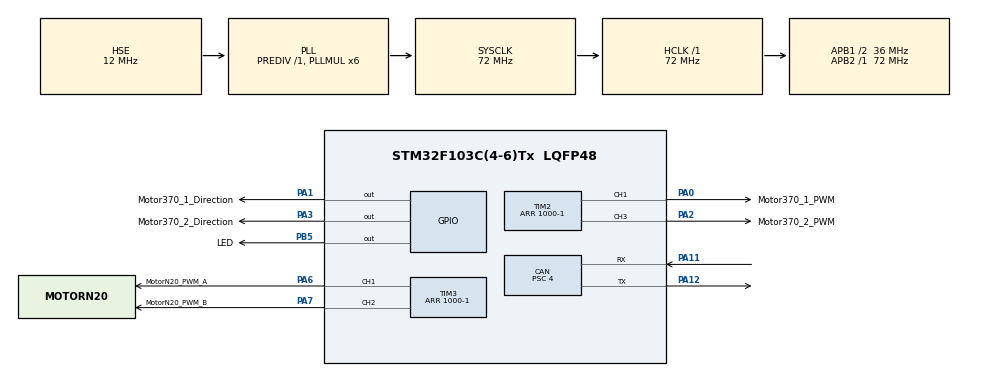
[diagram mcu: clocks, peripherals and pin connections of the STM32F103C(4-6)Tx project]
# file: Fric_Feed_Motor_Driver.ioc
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CAN.ABOM=ENABLE
CAN.BS1=CAN_BS1_14TQ
CAN.BS2=CAN_BS2_3TQ
CAN.CalculateBaudRate=500000
CAN.CalculateTimeBit=2000
CAN.CalculateTimeQuantum=111.11111111111111
CAN.NART=ENABLE
CAN.Prescaler=4
Mcu.Family=STM32F1
Mcu.Name=STM32F103C(4-6)Tx
Mcu.Package=LQFP48
NVIC.PriorityGroup=NVIC_PRIORITYGROUP_4
NVIC.USB_HP_CAN1_TX_IRQn=true\:0\:0\:false\:false\:true\:true\:true\:true
NVIC.USB_LP_CAN1_RX0_IRQn=true\:0\:0\:false\:false\:true\:true\:true\:true
PA0-WKUP.GPIO_Label=Motor370_1_PWM
PA0-WKUP.Signal=S_TIM2_CH1_ETR
PA1.GPIO_Label=Motor370_1_Direction
PA1.Signal=GPIO_Output
PA11.Mode=CAN_Activate
PA11.Signal=CAN_RX
PA12.Mode=CAN_Activate
PA12.Signal=CAN_TX
PA13.Mode=Serial_Wire
PA13.Signal=SYS_JTMS-SWDIO
PA14.Mode=Serial_Wire
PA14.Signal=SYS_JTCK-SWCLK
PA2.GPIO_Label=Motor370_2_PWM
PA2.Signal=S_TIM2_CH3
PA3.GPIO_Label=Motor370_2_Direction
PA3.PinState=GPIO_PIN_RESET
PA3.Signal=GPIO_Output
PA6.GPIO_Label=MotorN20_PWM_A
PA6.Signal=S_TIM3_CH1
PA7.GPIO_Label=MotorN20_PWM_B
PA7.Signal=S_TIM3_CH2
PB5.GPIO_Label=LED
PB5.Signal=GPIO_Output
PD0-OSC_IN.Mode=HSE-External-Oscillator
PD0-OSC_IN.Signal=RCC_OSC_IN
PD1-OSC_OUT.Mode=HSE-External-Oscillator
PD1-OSC_OUT.Signal=RCC_OSC_OUT
ProjectManager.HeapSize=0x200
ProjectManager.StackSize=0x400
ProjectManager.TargetToolchain=Makefile
RCC.AHBFreq_Value=72000000
RCC.APB1CLKDivider=RCC_HCLK_DIV2
RCC.APB1Freq_Value=36000000
RCC.APB1TimFreq_Value=72000000
RCC.APB2Freq_Value=72000000
RCC.APB2TimFreq_Value=72000000
RCC.HCLKFreq_Value=72000000
RCC.HSE_VALUE=12000000
RCC.PLLMUL=RCC_PLL_MUL6
RCC.PLLSourceVirtual=RCC_PLLSOURCE_HSE
RCC.SYSCLKFreq_VALUE=72000000
RCC.SYSCLKSource=RCC_SYSCLKSOURCE_PLLCLK
RCC.USBFreq_Value=72000000
SH.S_TIM2_CH1_ETR.0=TIM2_CH1,PWM Generation1 CH1
SH.S_TIM2_CH3.0=TIM2_CH3,PWM Generation3 CH3
SH.S_TIM3_CH1.0=TIM3_CH1,PWM Generation1 CH1
SH.S_TIM3_CH2.0=TIM3_CH2,PWM Generation2 CH2
TIM2.Channel-PWM\ Generation1\ CH1=TIM_CHANNEL_1
TIM2.Channel-PWM\ Generation3\ CH3=TIM_CHANNEL_3
TIM2.Period=1000-1
TIM3.Channel-PWM\ Generation1\ CH1=TIM_CHANNEL_1
TIM3.Channel-PWM\ Generation2\ CH2=TIM_CHANNEL_2
TIM3.Period=1000-1
board=custom

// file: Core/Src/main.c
/* USER CODE BEGIN Header */
/**
  ******************************************************************************
  * @file           : main.c
  * @brief          : Main program body
  ******************************************************************************
  * @attention
  *
  * Copyright (c) 2026 STMicroelectronics.
  * All rights reserved.
  *
  * This software is licensed under terms that can be found in the LICENSE file
  * in the root directory of this software component.
  * If no LICENSE file comes with this software, it is provided AS-IS.
  *
  ******************************************************************************
  */
/* USER CODE END Header */
#include "main.h"
#include "can.h"
#include "tim.h"
#include "gpio.h"

/* USER CODE BEGIN Includes */
#include "bsp_motor.h"
#include "bsp_can.h"
#include "app_control.h"
#include "app_protocol.h"
#include "app_debug.h"
/* USER CODE END Includes */

/* USER CODE BEGIN PV */
volatile uint8_t control_flag = 0;
/* USER CODE END PV */

void SystemClock_Config(void);
/* USER CODE BEGIN PFP */
void HAL_SYSTICK_Callback(void)
{
  static uint8_t control_divider = 0;

  if (++control_divider >= 10) // 10ms 100hz
  {
    control_divider = 0;
    control_flag = 1;
  }
}
/* USER CODE END PFP */

int main(void)
{

  /* MCU Configuration--------------------------------------------------------*/

  /* Reset of all peripherals, Initializes the Flash interface and the Systick. */
  HAL_Init();

  /* Configure the system clock */
  SystemClock_Config();

  /* Initialize all configured peripherals */
  MX_GPIO_Init();
  MX_CAN_Init();
  MX_TIM2_Init();
  MX_TIM3_Init();
  /* USER CODE BEGIN 2 */
  appProtocolInit();
  appControlInit();
  /* USER CODE END 2 */

  /* Infinite loop */
  while (1)
  {

    /* USER CODE BEGIN 3 */
    if (control_flag)
    {
      control_flag = 0;

      appControlLoop();

      ProtocolStatusFrame current_status;
      appProtocolGetStatusFrame(&current_status);
      appProtocolReport(&hcan, &current_status);
    }
  }
  /* USER CODE END 3 */
}

void SystemClock_Config(void)
{
  RCC_OscInitTypeDef RCC_OscInitStruct = {0};
  RCC_ClkInitTypeDef RCC_ClkInitStruct = {0};

  /** Initializes the RCC Oscillators according to the specified parameters
  * in the RCC_OscInitTypeDef structure.
  */
  RCC_OscInitStruct.OscillatorType = RCC_OSCILLATORTYPE_HSE;
  RCC_OscInitStruct.HSEState = RCC_HSE_ON;
  RCC_OscInitStruct.HSEPredivValue = RCC_HSE_PREDIV_DIV1;
  RCC_OscInitStruct.HSIState = RCC_HSI_ON;
  RCC_OscInitStruct.PLL.PLLState = RCC_PLL_ON;
  RCC_OscInitStruct.PLL.PLLSource = RCC_PLLSOURCE_HSE;
  RCC_OscInitStruct.PLL.PLLMUL = RCC_PLL_MUL6;
  if (HAL_RCC_OscConfig(&RCC_OscInitStruct) != HAL_OK)
  {
    Error_Handler();
  }

  /** Initializes the CPU, AHB and APB buses clocks
  */
  RCC_ClkInitStruct.ClockType = RCC_CLOCKTYPE_HCLK|RCC_CLOCKTYPE_SYSCLK
                              |RCC_CLOCKTYPE_PCLK1|RCC_CLOCKTYPE_PCLK2;
  RCC_ClkInitStruct.SYSCLKSource = RCC_SYSCLKSOURCE_PLLCLK;
  RCC_ClkInitStruct.AHBCLKDivider = RCC_SYSCLK_DIV1;
  RCC_ClkInitStruct.APB1CLKDivider = RCC_HCLK_DIV2;
  RCC_ClkInitStruct.APB2CLKDivider = RCC_HCLK_DIV1;

  if (HAL_RCC_ClockConfig(&RCC_ClkInitStruct, FLASH_LATENCY_2) != HAL_OK)
  {
    Error_Handler();
  }
}

void Error_Handler(void)
{
  __disable_irq();
  while (1)
  {
  }
}
